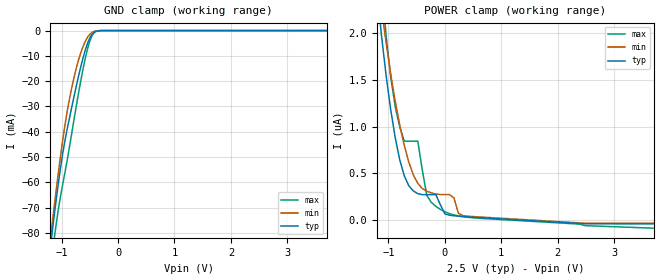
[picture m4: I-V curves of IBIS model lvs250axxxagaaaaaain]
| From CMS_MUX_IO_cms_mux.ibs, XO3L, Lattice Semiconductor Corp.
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[Model]   lvs250axxxagaaaaaain
Model_type   Input
Polarity   Non-Inverting
Enable   Active-Low
Vinl =   1.1500V
Vinh =   1.3500V
C_comp   4.2000pF   3.8000pF   7.5000pF
[Temperature Range]   25.0000   0.1250k   -40.0000
[Voltage Range]   2.5000V   2.3800V   2.6300V
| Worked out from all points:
|   GND clamp passes 1 mA (typ) near -0.44 V on its own axis
[GND_clamp]
|Voltage   I(typ)   I(min)   I(max)
-2.5V     -564.7mA   -543.1mA   -585.2mA
-1.18V    -82.35mA   -79.03mA   -91.15mA
-1.14V    -74.88mA   -71.38mA   -83.96mA
-1.1V     -67.69mA   -63.94mA   -77.25mA
-980mV    -48.66mA   -43.36mA   -60.79mA
-820mV    -30.34mA   -22.65mA   -40.66mA
-700mV    -18.09mA   -11.63mA   -24.79mA
-620mV    -10.87mA   -6.335mA   -15.23mA
-540mV    -5.061mA   -2.654mA   -7.227mA
-460mV    -1.446mA   -714.8uA   -1.98mA
-300mV    -18.71uA   -15.93uA   -16.53uA
5V        0A         0A         0A
[POWER_clamp]
|Voltage   I(typ)   I(min)   I(max)
-2.48V    16.67uA    13.46uA    27.27uA
-1.2V     2.435uA    2.651uA    3.191uA
-1.12V    1.959uA    2.254uA    2.522uA
-1.04V    1.541uA    1.891uA    1.967uA
-880mV    880.7nA    1.272uA    1.212uA
-720mV    472.2nA    798.5nA    842.6nA
-480mV    280.5nA    389.6nA    842.6nA
-320mV    269.7nA    306.1nA    260.6nA
-160mV    269.7nA    276.4nA    144nA
0V        63.22nA    270.6nA    86.34nA
400mV     31.61nA    39.07nA    27.38nA
5V        -44.09nA   -38.33nA   -118.7nA
